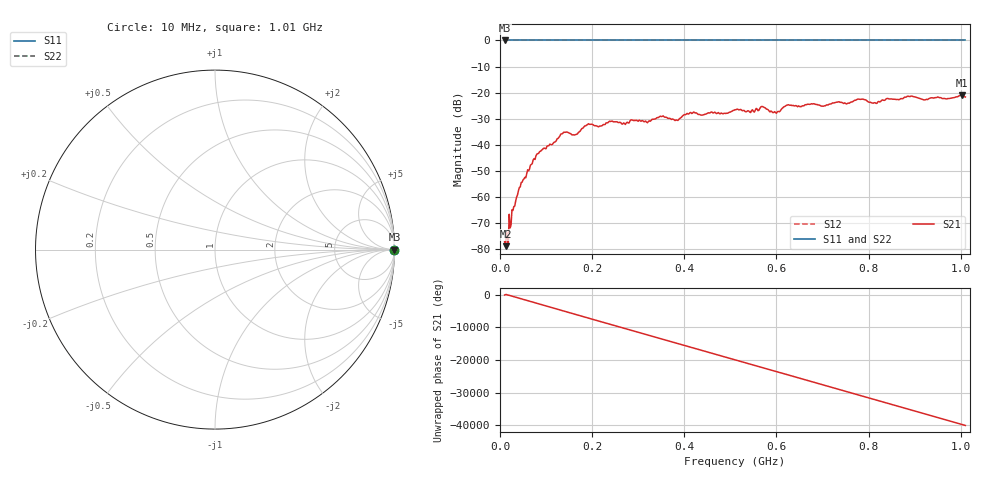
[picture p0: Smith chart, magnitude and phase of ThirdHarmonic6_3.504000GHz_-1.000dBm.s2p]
! 8/17/2025 11:27:12 AM
! C:\ANRITSUVNA\TEMP\TEMP.S2P
! CHANNEL.1
! TR.MEASUREMENT
! RAW.DATA
! RF.CORRECTION.OFF
! AVERAGING.OFF
! IF.BANDWIDTH: 5KHZ
! SWEEPTYPE:  FREQ.SWEEP(Linear)
! Reference Plane Port Info
! PORT:  PORT1  PORT2
! DISTANCE:  0  m  0  m
! TIME:  0  s  0  s
! PHASE.OFFSET:  0  deg.  0  deg.
! LOSS:  0  dB  0  dB
! REF.LOSS:  0  dB  0  dB
! REF.FREQ:  0  Hz  0  Hz
! Power Info
! POWER:  -20  dBm  -20  dBm
! EFF.POWER:  -20  dBm  -20  dBm
! SOURCE.ATTEN:  0  dB  0  dB
! TEST.ATTEN:  0  dB  0  dB
# GHZ S RI R 50.0
! FREQ.GHZ  S11RE  S11IM  S21RE  S21IM  S12RE  S12IM  S22RE  S22IM
!; PortSelection: Port_12
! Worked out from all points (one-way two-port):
!   501 points, 10 MHz to 1.01 GHz, reference 50 ohm
!   highest |S21| = -20.96 dB at 1.002 GHz (marker M1); lowest = -78.8 dB at 12 MHz (marker M2)
!   lowest |S11| = 0.0 dB at 10 MHz (marker M3)
!   |S11| at or under -10 dB: nowhere
!   |S22| runs from 0.0 to 0.0 dB; largest |S21 - S12| = 1.1
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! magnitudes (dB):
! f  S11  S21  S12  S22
! 10 MHz  0.0  -77.0  0.0  0.0
! 12 MHz  0.0  -78.8  0.0  0.0
! 14 MHz  0.0  -73.2  0.0  0.0
! 24 MHz  0.0  -70.6  0.0  0.0
! 42 MHz  0.0  -56.3  0.0  0.0
! 76 MHz  0.0  -45.6  0.0  0.0
! 136 MHz  0.0  -35.6  0.0  0.0
! 164 MHz  0.0  -36.1  0.0  0.0
! 178 MHz  0.0  -33.7  0.0  0.0
! 194 MHz  0.0  -32.1  0.0  0.0
! 322 MHz  0.0  -31.0  0.0  0.0
! 344 MHz  0.0  -29.5  0.0  0.0
! 384 MHz  0.0  -30.5  0.0  0.0
! 416 MHz  0.0  -28.0  0.0  0.0
! 510 MHz  0.0  -26.5  0.0  0.0
! 570 MHz  0.0  -25.3  0.0  0.0
! 596 MHz  0.0  -27.3  0.0  0.0
! 624 MHz  0.0  -24.7  0.0  0.0
! 678 MHz  0.0  -24.3  0.0  0.0
! 844 MHz  0.0  -22.4  0.0  0.0
! 1.002 GHz  0.0  -21.0  0.0  0.0
! 1.01 GHz  0.0  -21.6  0.0  0.0
